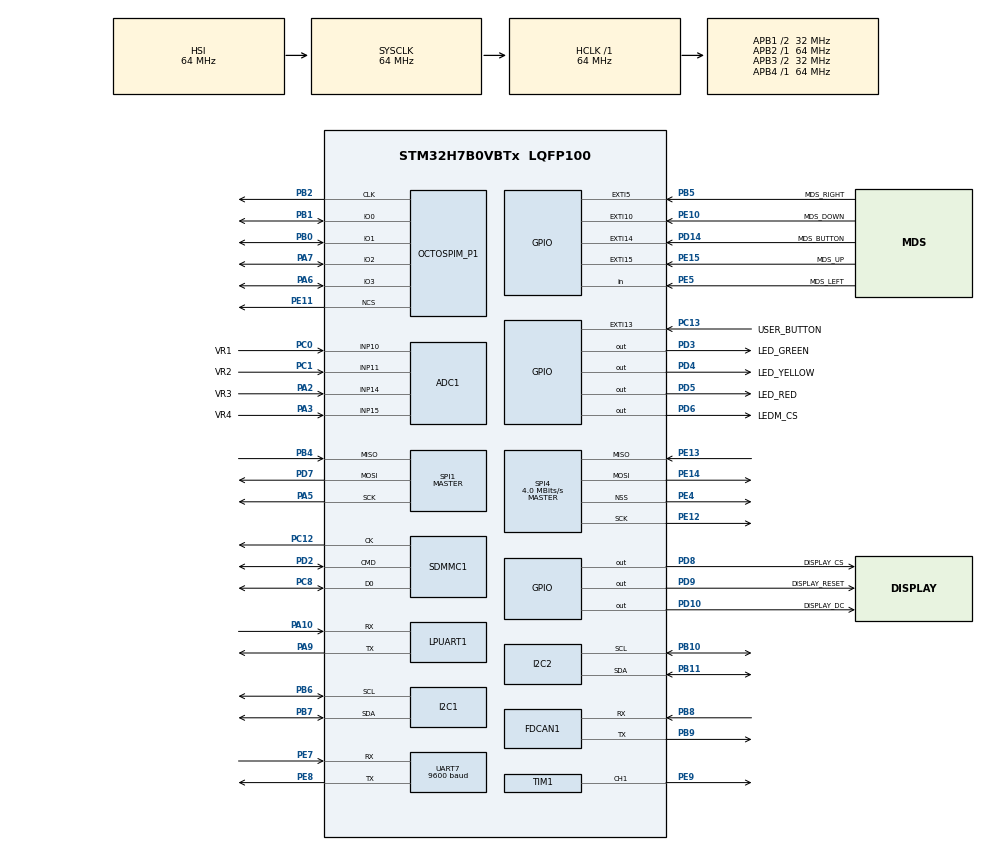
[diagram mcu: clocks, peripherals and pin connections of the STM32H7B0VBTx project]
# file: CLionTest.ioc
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ADC1.Channel-0\#ChannelRegularConversion=ADC_CHANNEL_10
ADC1.Channel-1\#ChannelRegularConversion=ADC_CHANNEL_11
ADC1.Channel-2\#ChannelRegularConversion=ADC_CHANNEL_14
ADC1.Channel-3\#ChannelRegularConversion=ADC_CHANNEL_15
ADC1.ClockPrescaler=ADC_CLOCK_ASYNC_DIV6
ADC1.DiscontinuousConvMode=ENABLE
ADC1.NbrOfConversion=4
ADC1.NbrOfConversionFlag=1
ADC1.OffsetNumber-0\#ChannelRegularConversion=ADC_OFFSET_NONE
ADC1.OffsetNumber-1\#ChannelRegularConversion=ADC_OFFSET_NONE
ADC1.OffsetNumber-2\#ChannelRegularConversion=ADC_OFFSET_NONE
ADC1.OffsetNumber-3\#ChannelRegularConversion=ADC_OFFSET_NONE
ADC1.OffsetSignedSaturation-0\#ChannelRegularConversion=DISABLE
ADC1.OffsetSignedSaturation-1\#ChannelRegularConversion=DISABLE
ADC1.OffsetSignedSaturation-2\#ChannelRegularConversion=DISABLE
ADC1.OffsetSignedSaturation-3\#ChannelRegularConversion=DISABLE
ADC1.Rank-0\#ChannelRegularConversion=1
ADC1.Rank-1\#ChannelRegularConversion=2
ADC1.Rank-2\#ChannelRegularConversion=3
ADC1.Rank-3\#ChannelRegularConversion=4
ADC1.SamplingTime-0\#ChannelRegularConversion=ADC_SAMPLETIME_1CYCLE_5
ADC1.SamplingTime-1\#ChannelRegularConversion=ADC_SAMPLETIME_1CYCLE_5
ADC1.SamplingTime-2\#ChannelRegularConversion=ADC_SAMPLETIME_1CYCLE_5
ADC1.SamplingTime-3\#ChannelRegularConversion=ADC_SAMPLETIME_1CYCLE_5
ADC1.master=1
CORTEX_M7.default_mode_Activation=1
Dma.Request0=TIM1_CH1
Dma.TIM1_CH1.0.Direction=DMA_MEMORY_TO_PERIPH
Dma.TIM1_CH1.0.EventEnable=DISABLE
Dma.TIM1_CH1.0.FIFOMode=DMA_FIFOMODE_DISABLE
Dma.TIM1_CH1.0.Instance=DMA2_Stream7
Dma.TIM1_CH1.0.MemDataAlignment=DMA_MDATAALIGN_HALFWORD
Dma.TIM1_CH1.0.MemInc=DMA_MINC_ENABLE
Dma.TIM1_CH1.0.Mode=DMA_NORMAL
Dma.TIM1_CH1.0.PeriphDataAlignment=DMA_PDATAALIGN_HALFWORD
Dma.TIM1_CH1.0.PeriphInc=DMA_PINC_DISABLE
Dma.TIM1_CH1.0.Polarity=HAL_DMAMUX_REQ_GEN_RISING
Dma.TIM1_CH1.0.Priority=DMA_PRIORITY_LOW
Dma.TIM1_CH1.0.RequestNumber=1
Dma.TIM1_CH1.0.SignalID=NONE
Dma.TIM1_CH1.0.SyncEnable=DISABLE
Dma.TIM1_CH1.0.SyncPolarity=HAL_DMAMUX_SYNC_NO_EVENT
Dma.TIM1_CH1.0.SyncRequestNumber=1
Dma.TIM1_CH1.0.SyncSignalID=NONE
FATFS._FS_EXFAT=1
FATFS._MAX_SS=4096
FATFS._USE_LFN=2
FDCAN1.CalculateBaudRateNominal=888888
FDCAN1.CalculateTimeBitNominal=1125
FDCAN1.CalculateTimeQuantumNominal=375.0
I2C1.Timing=0x00707CBB
I2C2.Timing=0x00707CBB
Mcu.Family=STM32H7
Mcu.Name=STM32H7B0VBTx
Mcu.Package=LQFP100
NVIC.ADC_IRQn=true\:0\:0\:false\:false\:true\:true\:true\:true
NVIC.DMA2_Stream7_IRQn=true\:0\:0\:false\:false\:true\:false\:true\:true
NVIC.EXTI15_10_IRQn=true\:0\:0\:false\:false\:true\:true\:true\:true
NVIC.EXTI9_5_IRQn=true\:0\:0\:false\:false\:true\:true\:true\:true
NVIC.PriorityGroup=NVIC_PRIORITYGROUP_4
NVIC.SDMMC1_IRQn=true\:0\:0\:false\:false\:true\:true\:true\:true
NVIC.TIM1_BRK_IRQn=true\:0\:0\:false\:false\:true\:true\:true\:true
NVIC.TIM1_CC_IRQn=true\:0\:0\:false\:false\:true\:true\:true\:true
NVIC.TIM1_TRG_COM_IRQn=true\:0\:0\:false\:false\:true\:true\:true\:true
NVIC.TIM1_UP_IRQn=true\:0\:0\:false\:false\:true\:true\:true\:true
NVIC.TIM6_DAC_IRQn=true\:0\:0\:false\:false\:true\:true\:true\:true
NVIC.TIM7_IRQn=true\:0\:0\:true\:false\:true\:true\:true\:true
OCTOSPI1.DeviceSize=24
OCTOSPI1.SampleShifting=HAL_OSPI_SAMPLE_SHIFTING_HALFCYCLE
PA10.Mode=Asynchronous
PA10.Signal=LPUART1_RX
PA13.Mode=JTAG_4_pins
PA13.Signal=DEBUG_JTMS-SWDIO
PA14.Mode=JTAG_4_pins
PA14.Signal=DEBUG_JTCK-SWCLK
PA15.Mode=JTAG_4_pins
PA15.Signal=DEBUG_JTDI
PA2.GPIO_Label=VR3
PA2.Signal=ADCx_INP14
PA3.GPIO_Label=VR4
PA3.Mode=IN15-Single-Ended
PA3.Signal=ADC1_INP15
PA5.Mode=Full_Duplex_Master
PA5.Signal=SPI1_SCK
PA6.Mode=OCTOSPI1_IOL_Port1L
PA6.Signal=OCTOSPIM_P1_IO3
PA7.Mode=OCTOSPI1_IOL_Port1L
PA7.Signal=OCTOSPIM_P1_IO2
PA9.Mode=Asynchronous
PA9.Signal=LPUART1_TX
PB0.Mode=OCTOSPI1_IOL_Port1L
PB0.Signal=OCTOSPIM_P1_IO1
PB1.Mode=OCTOSPI1_IOL_Port1L
PB1.Signal=OCTOSPIM_P1_IO0
PB10.Mode=I2C
PB10.Signal=I2C2_SCL
PB11.Mode=I2C
PB11.Signal=I2C2_SDA
PB2.Mode=O1_P1_CLK
PB2.Signal=OCTOSPIM_P1_CLK
PB3.Mode=JTAG_4_pins
PB3.Signal=DEBUG_JTDO-SWO
PB4.Mode=Full_Duplex_Master
PB4.Signal=SPI1_MISO
PB5.GPIO_Label=MDS_RIGHT
PB5.GPIO_ModeDefaultEXTI=GPIO_MODE_IT_RISING
PB5.GPIO_PuPd=GPIO_PULLDOWN
PB5.Signal=GPXTI5
PB6.Mode=I2C
PB6.Signal=I2C1_SCL
PB7.Mode=I2C
PB7.Signal=I2C1_SDA
PB8.Mode=FDCAN_Activate
PB8.Signal=FDCAN1_RX
PB9.Mode=FDCAN_Activate
PB9.Signal=FDCAN1_TX
PC0.GPIO_Label=VR1
PC0.Signal=ADCx_INP10
PC1.GPIO_Label=VR2
PC1.Signal=ADCx_INP11
PC12.Mode=SD_1_bit
PC12.Signal=SDMMC1_CK
PC13.GPIO_Label=USER_BUTTON
PC13.GPIO_ModeDefaultEXTI=GPIO_MODE_IT_FALLING
PC13.GPIO_PuPd=GPIO_PULLDOWN
PC13.Signal=GPXTI13
PC14-OSC32_IN.Mode=LSE-External-Oscillator
PC14-OSC32_IN.Signal=RCC_OSC32_IN
PC15-OSC32_OUT.Mode=LSE-External-Oscillator
PC15-OSC32_OUT.Signal=RCC_OSC32_OUT
PC8.Mode=SD_1_bit
PC8.Signal=SDMMC1_D0
PD10.GPIO_Label=DISPLAY_DC
PD10.Signal=GPIO_Output
PD14.GPIO_Label=MDS_BUTTON
PD14.GPIO_ModeDefaultEXTI=GPIO_MODE_IT_RISING
PD14.GPIO_PuPd=GPIO_PULLDOWN
PD14.Signal=GPXTI14
PD2.Mode=SD_1_bit
PD2.Signal=SDMMC1_CMD
PD3.GPIO_Label=LED_GREEN
PD3.Signal=GPIO_Output
PD4.GPIO_Label=LED_YELLOW
PD4.Signal=GPIO_Output
PD5.GPIO_Label=LED_RED
PD5.PinState=GPIO_PIN_RESET
PD5.Signal=GPIO_Output
PD6.GPIO_Label=LEDM_CS
PD6.PinState=GPIO_PIN_SET
PD6.Signal=GPIO_Output
PD7.Mode=Full_Duplex_Master
PD7.Signal=SPI1_MOSI
PD8.GPIO_Label=DISPLAY_CS
PD8.Signal=GPIO_Output
PD9.GPIO_Label=DISPLAY_RESET
PD9.Signal=GPIO_Output
PE10.GPIO_Label=MDS_DOWN
PE10.GPIO_ModeDefaultEXTI=GPIO_MODE_IT_RISING
PE10.GPIO_PuPd=GPIO_PULLDOWN
PE10.Signal=GPXTI10
PE11.Mode=OCTOSPI1_Port1_NCS
PE11.Signal=OCTOSPIM_P1_NCS
PE12.Mode=Full_Duplex_Master
PE12.Signal=SPI4_SCK
PE13.Mode=Full_Duplex_Master
PE13.Signal=SPI4_MISO
PE14.Mode=Full_Duplex_Master
PE14.Signal=SPI4_MOSI
PE15.GPIO_Label=MDS_UP
PE15.GPIO_ModeDefaultEXTI=GPIO_MODE_IT_RISING
PE15.GPIO_PuPd=GPIO_PULLDOWN
PE15.Signal=GPXTI15
PE4.Mode=NSS_Signal_Hard_Output
PE4.Signal=SPI4_NSS
PE5.GPIO_Label=MDS_LEFT
PE5.GPIO_PuPd=GPIO_PULLDOWN
PE5.Signal=GPIO_Input
PE7.Mode=Asynchronous
PE7.Signal=UART7_RX
PE8.Mode=Asynchronous
PE8.Signal=UART7_TX
PE9.Signal=S_TIM1_CH1
PH0-OSC_IN.Mode=HSE-External-Oscillator
PH0-OSC_IN.Signal=RCC_OSC_IN
PH1-OSC_OUT.Mode=HSE-External-Oscillator
PH1-OSC_OUT.Signal=RCC_OSC_OUT
ProjectManager.HeapSize=0x200
ProjectManager.StackSize=0x400
ProjectManager.TargetToolchain=STM32CubeIDE
RCC.ADCFreq_Value=42666666.666666664
RCC.APB1Freq_Value=32000000
RCC.APB2Freq_Value=64000000
RCC.APB3Freq_Value=32000000
RCC.APB4Freq_Value=64000000
RCC.CDPPRE=RCC_APB3_DIV2
RCC.CDPPRE1=RCC_APB1_DIV2
RCC.CortexFreq_Value=64000000
RCC.DIVM1=4
RCC.DIVM2=4
RCC.DIVN1=8
RCC.DIVN2=8
RCC.DIVP2=3
RCC.DIVQ1=3
RCC.HCLKFreq_Value=64000000
RCC.PLL2FRACN=0
RCC.PLL3FRACN=0
RCC.PLLFRACN=0
RCC.SYSCLKFreq_VALUE=64000000
RCC.USBFreq_Value=42666666.666666664
SDMMC1.ClockDiv=6
SH.ADCx_INP10.0=ADC1_INP10,IN10-Single-Ended
SH.ADCx_INP11.0=ADC1_INP11,IN11-Single-Ended
SH.ADCx_INP14.0=ADC1_INP14,IN14-Single-Ended
SH.S_TIM1_CH1.0=TIM1_CH1,PWM Generation1 CH1
SPI1.CalculateBaudRate=21.333332 MBits/s
SPI1.DataSize=SPI_DATASIZE_8BIT
SPI1.Direction=SPI_DIRECTION_2LINES
SPI1.Mode=SPI_MODE_MASTER
SPI1.VirtualType=VM_MASTER
SPI4.BaudRatePrescaler=SPI_BAUDRATEPRESCALER_8
SPI4.CalculateBaudRate=4.0 MBits/s
SPI4.DataSize=SPI_DATASIZE_8BIT
SPI4.Direction=SPI_DIRECTION_2LINES
SPI4.Mode=SPI_MODE_MASTER
SPI4.VirtualNSS=VM_NSSHARD
SPI4.VirtualType=VM_MASTER
TIM1.Channel-PWM\ Generation1\ CH1=TIM_CHANNEL_1
TIM1.Period=TIM1_ARR
TIM1.Prescaler=TIM1_PRESCALER
TIM6.Period=TIM6_ARR
TIM6.Prescaler=TIM6_PRESCALER
TIM7.AutoReloadPreload=TIM_AUTORELOAD_PRELOAD_DISABLE
TIM7.Period=TIM7_ARR
TIM7.Prescaler=TIM7_PRESCALER
UART7.BaudRate=9600
UART7.SwapParam=UART_ADVFEATURE_SWAP_ENABLE
VP_FATFS_VS_SDIO.Mode=SDIO
VP_MEMORYMAP_VS_MEMORYMAP.Mode=CurAppReg
VP_OCTOSPI1_VS_quad.Mode=quad_mode
VP_TIM6_VS_ClockSourceINT.Mode=Enable_Timer
VP_TIM7_VS_ClockSourceINT.Mode=Enable_Timer
board=custom

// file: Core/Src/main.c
/* USER CODE BEGIN Header */
/**
  ******************************************************************************
  * @file           : main.c
  * @brief          : Main program body
  ******************************************************************************
  * @attention
  *
  * Copyright (c) 2025 STMicroelectronics.
  * All rights reserved.
  *
  * This software is licensed under terms that can be found in the LICENSE file
  * in the root directory of this software component.
  * If no LICENSE file comes with this software, it is provided AS-IS.
  *
  ******************************************************************************
  */
/* USER CODE END Header */
#include "main.h"
#include "adc.h"
#include "dma.h"
#include "fatfs.h"
#include "fdcan.h"
#include "i2c.h"
#include "usart.h"
#include "memorymap.h"
#include "octospi.h"
#include "sdmmc.h"
#include "spi.h"
#include "tim.h"
#include "gpio.h"

/* USER CODE BEGIN Includes */
#include <stdio.h>

#include "WS2812.h"
#include "AHT20.h"
#include "ILI9341.h"
#include "LED.h"
#include "LED_Matrix.h"
#include "Realtime.h"
#include "UserInput.h"
#include "SSD1306.h"
#include "Fonts/ssd1306_fonts.h"

/* USER CODE END Includes */

/* USER CODE BEGIN PV */
static uint32_t lastUpdateTime = 0;
/* USER CODE END PV */

void SystemClock_Config(void);
static void MPU_Config(void);
/* USER CODE BEGIN PFP */
#define PUTCHAR_PROTOTYPE int __io_putchar(int ch)
/* USER CODE END PFP */

int main(void)
{

  /* USER CODE BEGIN 1 */

  uint8_t rx_data;
  HAL_I2C_Mem_Read(&hi2c1, 0xA1, 0x02, 1, &rx_data, 1, 100); // Lese von Register 0x02

  /* USER CODE END 1 */

  /* MPU Configuration--------------------------------------------------------*/
  MPU_Config();

  /* MCU Configuration--------------------------------------------------------*/

  /* Reset of all peripherals, Initializes the Flash interface and the Systick. */
  HAL_Init();

  /* Configure the system clock */
  SystemClock_Config();

  /* Initialize all configured peripherals */
  MX_GPIO_Init();
  MX_DMA_Init();
  MX_ADC1_Init();
  MX_FDCAN1_Init();
  MX_I2C1_Init();
  MX_I2C2_Init();
  MX_LPUART1_UART_Init();
  MX_UART7_Init();
  MX_OCTOSPI1_Init();
  MX_SDMMC1_SD_Init();
  MX_SPI1_Init();
  MX_SPI4_Init();
  MX_TIM1_Init();
  MX_TIM6_Init();
  MX_FATFS_Init();
  MX_TIM7_Init();
  /* USER CODE BEGIN 2 */

  LED_Matrix_setup();
  LED_Matrix_reset();
  uint8_t heart[8]={
    0b01100110,
    0b11111111,
    0b11111111,
    0b11111111,
    0b11111111,
    0b01111110,
    0b00111100,
    0b00011000
  };

  for (int i = 0; i < 8; i++){
    LED_Matrix_draw_row(i,heart[i]);
  }

  LED_Matrix_set_intensity(2);

  ssd1306_Init();

  ssd1306_Fill(White);

  ssd1306_SetCursor(25,0);
  ssd1306_WriteString("Demo Programm", Font_6x8, BLACK);
  ssd1306_UpdateScreen();

  ILI9341_begin(&hspi1, DISPLAY_CS_GPIO_Port, DISPLAY_CS_Pin, DISPLAY_DC_GPIO_Port, DISPLAY_DC_Pin, DISPLAY_RESET_GPIO_Port, DISPLAY_RESET_Pin);

  ILI9341_DisplayOn();

  ILI9341_SetOrientation(TEST);

  ILI9341_FillScreen(WHITE);

  ILI9341_DrawText("DEMO PROGRAMM", 50, 50, BLACK, 3,WHITE);

  ILI9341_DrawBinaryFile("SiMi_Logo_TFT.bin", 30, 120, 100, 79);
  ILI9341_DrawBinaryFile("TFO_TFT.bin", 180, 120, 100, 79);

  // Herz auf SSD1306 zeichnen
    ssd1306_SetCursor(80, 40);
    for (int y = 0; y < 8; y++) {
      for (int x = 0; x < 8; x++) {
        if (heart[y] & (1 << (7 - x))) {
          ssd1306_DrawPixel(80 + x*2, 40 + y*2, BLACK);
          ssd1306_DrawPixel(80 + x*2 + 1, 40 + y*2, BLACK);
          ssd1306_DrawPixel(80 + x*2, 40 + y*2 + 1, BLACK);
          ssd1306_DrawPixel(80 + x*2 + 1, 40 + y*2 + 1, BLACK);
        }
      }
    }
    ssd1306_UpdateScreen();

  Realtime_Init();

  /* USER CODE END 2 */

  /* Infinite loop */
  /* USER CODE BEGIN WHILE */
  while (1)
  {
#ifdef USE_POLLING
    PollingUserInput();
#endif
#ifdef USE_INTERRUPT
    HandleMDSLeft();
#endif

    HandlePendingUserInput();

    /* USER CODE END WHILE */

    /* USER CODE BEGIN 3 */

  if (MDS_LEFT_Flanke == 1) {
    printf("MDS_LEFT Flanke erkannt\n");
    ILI9341_fillRect(0,0,320,40,WHITE);
    ILI9341_DrawText("LEFT",130,0,BLACK,3,WHITE);
  }
  else if (MDS_RIGHT_Flanke == 1) {
    printf("MDS_RIGHT_Flanke erkannt\n");
    ILI9341_fillRect(0,0,320,40,WHITE);
    ILI9341_DrawText("RIGHT",130,0,BLACK,3,WHITE);
  }
  else if (MDS_UP_Flanke == 1) {
    printf("MDS_UP_Flanke erkannt\n");
    ILI9341_fillRect(0,0,320,40,WHITE);
    ILI9341_DrawText("UP",130,0,BLACK,3,WHITE);
  }
  else if (MDS_DOWN_Flanke == 1) {
    printf("MDS_DOWN_Flanke erkannt\n");
    ILI9341_fillRect(0,0,320,40,WHITE);
    ILI9341_DrawText("DOWN",130,0,BLACK,3,WHITE);
  }
    else if (MDS_BUTTON_Flanke == 1){
      printf("MDS_BUTTON_Flanke erkannt\n");
      ILI9341_fillRect(0,0,320,40,WHITE);
      ILI9341_DrawText("BUTTON",130,0,BLACK,3,WHITE);
    }
    else if (USER_BUTTON_Flanke == 1) {
      printf("USER_BUTTON_Flanke erkannt\n");
      ILI9341_fillRect(0,0,320,40,WHITE);
    }

    UpdatePotiValues();

  WS2812_SetLED(Poti1Value*(1.0/256.0),Poti2Value*(1.0/256.0),Poti3Value*(1.0/256.0));
  WS2812_SetBrightness(Poti4Value*(45.0/65536.0));
  WS2812_Send();
  HAL_Delay(1);

    if (HAL_GetTick() - lastUpdateTime >= 1000) {  // Alle 1000 ms aktualisieren
      float temp = 0, hum = 0;
      AHT20_Read(&temp, &hum);
        char tempStr[16], humStr[16];
        sprintf(tempStr, "Temp: %.1f C", temp);
        sprintf(humStr, "Hum: %.1f %%", hum);

        // Bereich löschen und neu beschreiben
        ssd1306_Fill(White);
        ssd1306_SetCursor(25, 0);
        ssd1306_WriteString("Demo Programm", Font_6x8, BLACK);
        ssd1306_SetCursor(10, 20);
        ssd1306_WriteString(tempStr, Font_6x8, BLACK);
        ssd1306_SetCursor(10, 30);
        ssd1306_WriteString(humStr, Font_6x8, BLACK);
        ssd1306_UpdateScreen();

      lastUpdateTime = HAL_GetTick();
    }

    ResetFlanken();
  }
  /* USER CODE END 3 */
}

void SystemClock_Config(void)
{
  RCC_OscInitTypeDef RCC_OscInitStruct = {0};
  RCC_ClkInitTypeDef RCC_ClkInitStruct = {0};

  /*AXI clock gating */
  RCC->CKGAENR = 0xFFFFFFFF;

  /** Supply configuration update enable
  */
  HAL_PWREx_ConfigSupply(PWR_LDO_SUPPLY);

  /** Configure the main internal regulator output voltage
  */
  __HAL_PWR_VOLTAGESCALING_CONFIG(PWR_REGULATOR_VOLTAGE_SCALE3);

  while(!__HAL_PWR_GET_FLAG(PWR_FLAG_VOSRDY)) {}

  /** Initializes the RCC Oscillators according to the specified parameters
  * in the RCC_OscInitTypeDef structure.
  */
  RCC_OscInitStruct.OscillatorType = RCC_OSCILLATORTYPE_HSI;
  RCC_OscInitStruct.HSIState = RCC_HSI_DIV1;
  RCC_OscInitStruct.HSICalibrationValue = 64;
  RCC_OscInitStruct.PLL.PLLState = RCC_PLL_ON;
  RCC_OscInitStruct.PLL.PLLSource = RCC_PLLSOURCE_HSI;
  RCC_OscInitStruct.PLL.PLLM = 4;
  RCC_OscInitStruct.PLL.PLLN = 8;
  RCC_OscInitStruct.PLL.PLLP = 2;
  RCC_OscInitStruct.PLL.PLLQ = 3;
  RCC_OscInitStruct.PLL.PLLR = 2;
  RCC_OscInitStruct.PLL.PLLRGE = RCC_PLL1VCIRANGE_3;
  RCC_OscInitStruct.PLL.PLLVCOSEL = RCC_PLL1VCOWIDE;
  RCC_OscInitStruct.PLL.PLLFRACN = 0;
  if (HAL_RCC_OscConfig(&RCC_OscInitStruct) != HAL_OK)
  {
    Error_Handler();
  }

  /** Initializes the CPU, AHB and APB buses clocks
  */
  RCC_ClkInitStruct.ClockType = RCC_CLOCKTYPE_HCLK|RCC_CLOCKTYPE_SYSCLK
                              |RCC_CLOCKTYPE_PCLK1|RCC_CLOCKTYPE_PCLK2
                              |RCC_CLOCKTYPE_D3PCLK1|RCC_CLOCKTYPE_D1PCLK1;
  RCC_ClkInitStruct.SYSCLKSource = RCC_SYSCLKSOURCE_HSI;
  RCC_ClkInitStruct.SYSCLKDivider = RCC_SYSCLK_DIV1;
  RCC_ClkInitStruct.AHBCLKDivider = RCC_HCLK_DIV1;
  RCC_ClkInitStruct.APB3CLKDivider = RCC_APB3_DIV2;
  RCC_ClkInitStruct.APB1CLKDivider = RCC_APB1_DIV2;
  RCC_ClkInitStruct.APB2CLKDivider = RCC_APB2_DIV1;
  RCC_ClkInitStruct.APB4CLKDivider = RCC_APB4_DIV1;

  if (HAL_RCC_ClockConfig(&RCC_ClkInitStruct, FLASH_LATENCY_2) != HAL_OK)
  {
    Error_Handler();
  }
}

/* USER CODE BEGIN 4 */
//TODO DO CODE EINI TIAN
PUTCHAR_PROTOTYPE
{
  /* Place your implementation of fputc here */
  /* e.g. write a character to the USART1 and Loop until the end of transmission */
  HAL_UART_Transmit(&huart7, (uint8_t *)&ch, 1, 0xFFFF);
  return ch;
}

void HAL_GPIO_EXTI_Callback(uint16_t GPIO_Pin){
    //Alle Funktionen, welche den Interrupt abbekommen wollen werden hier drinnen platziert.
    //Wenn man nicht weiß, was man tut, hier nichts verändern

#ifdef USE_INTERRUPT
    UserInput_Interrupt(GPIO_Pin);
#endif

}

void HAL_TIM_PeriodElapsedCallback(TIM_HandleTypeDef *htim) {

#ifdef DEBOUNCE_WITH_TIMER
  if (htim->Instance == TIM6) {
    HandleDebouncedUserInput();

    // Stoppe den Timer
    HAL_TIM_Base_Stop(&htim6);

    // Setze debounce flag zurück
    debounce_in_progress = 0;

    //Setzte timer update flag zurück
    __HAL_TIM_CLEAR_FLAG(&htim6, TIM_FLAG_UPDATE);
  }
#endif

  if (htim->Instance == TIM7) {
    // Timer 7 Callback
    Realtime_Loop();
  }
}

/* USER CODE END 4 */

 /* MPU Configuration */

void MPU_Config(void)
{
  MPU_Region_InitTypeDef MPU_InitStruct = {0};

  /* Disables the MPU */
  HAL_MPU_Disable();

  /** Initializes and configures the Region and the memory to be protected
  */
  MPU_InitStruct.Enable = MPU_REGION_ENABLE;
  MPU_InitStruct.Number = MPU_REGION_NUMBER0;
  MPU_InitStruct.BaseAddress = 0x0;
  MPU_InitStruct.Size = MPU_REGION_SIZE_4GB;
  MPU_InitStruct.SubRegionDisable = 0x87;
  MPU_InitStruct.TypeExtField = MPU_TEX_LEVEL0;
  MPU_InitStruct.AccessPermission = MPU_REGION_NO_ACCESS;
  MPU_InitStruct.DisableExec = MPU_INSTRUCTION_ACCESS_DISABLE;
  MPU_InitStruct.IsShareable = MPU_ACCESS_SHAREABLE;
  MPU_InitStruct.IsCacheable = MPU_ACCESS_NOT_CACHEABLE;
  MPU_InitStruct.IsBufferable = MPU_ACCESS_NOT_BUFFERABLE;

  HAL_MPU_ConfigRegion(&MPU_InitStruct);
  /* Enables the MPU */
  HAL_MPU_Enable(MPU_PRIVILEGED_DEFAULT);

}

void Error_Handler(void)
{
  __disable_irq();
  while (1)
  {
  }
}
